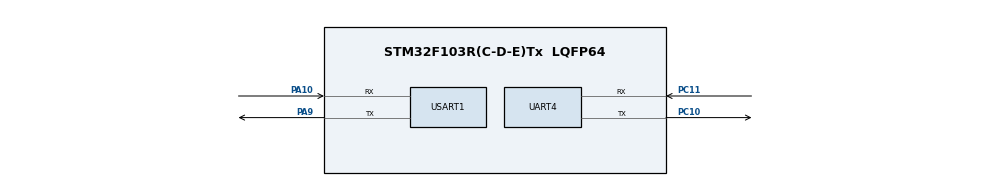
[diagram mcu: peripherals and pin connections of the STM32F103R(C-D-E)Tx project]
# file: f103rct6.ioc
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Mcu.Family=STM32F1
Mcu.Name=STM32F103R(C-D-E)Tx
Mcu.Package=LQFP64
NVIC.PriorityGroup=NVIC_PRIORITYGROUP_4
NVIC.UART4_IRQn=true\:0\:0\:false\:false\:true\:true\:true\:true
PA10.Mode=Asynchronous
PA10.Signal=USART1_RX
PA13.Mode=JTAG_4_pins
PA13.Signal=SYS_JTMS-SWDIO
PA14.Mode=JTAG_4_pins
PA14.Signal=SYS_JTCK-SWCLK
PA15.Mode=JTAG_4_pins
PA15.Signal=SYS_JTDI
PA9.Mode=Asynchronous
PA9.Signal=USART1_TX
PB3.Mode=JTAG_4_pins
PB3.Signal=SYS_JTDO-TRACESWO
PC10.Mode=Asynchronous
PC10.Signal=UART4_TX
PC11.Mode=Asynchronous
PC11.Signal=UART4_RX
ProjectManager.HeapSize=0x200
ProjectManager.StackSize=0x400
ProjectManager.TargetToolchain=CMake
RCC.APB1Freq_Value=8000000
RCC.APB2Freq_Value=8000000
UART4.VirtualMode=Asynchronous
USART1.VirtualMode=VM_ASYNC
board=custom

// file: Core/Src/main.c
/* USER CODE BEGIN Header */
/**
  ******************************************************************************
  * @file           : main.c
  * @brief          : Main program body
  ******************************************************************************
  * @attention
  *
  * Copyright (c) 2026 STMicroelectronics.
  * All rights reserved.
  *
  * This software is licensed under terms that can be found in the LICENSE file
  * in the root directory of this software component.
  * If no LICENSE file comes with this software, it is provided AS-IS.
  *
  ******************************************************************************
  */
/* USER CODE END Header */
#include "main.h"
#include "usart.h"
#include "gpio.h"

/* USER CODE BEGIN Includes */
#include "stdio.h"
/* USER CODE END Includes */

/* USER CODE BEGIN PV */
char check_position[9]="#005PRAD!";
char release_torque[9]="#255PULK!";
char command[]="#006P0500T0000!";
char currrent_position[10]={};
/* USER CODE END PV */

void SystemClock_Config(void);

int main(void)
{

  /* MCU Configuration--------------------------------------------------------*/

  /* Reset of all peripherals, Initializes the Flash interface and the Systick. */
  HAL_Init();

  /* Configure the system clock */
  SystemClock_Config();

  /* Initialize all configured peripherals */
  MX_GPIO_Init();
  MX_UART4_Init();
  MX_USART1_UART_Init();
  /* USER CODE BEGIN 2 */
  HAL_UART_Transmit(&huart4,(uint8_t*)release_torque,sizeof(release_torque),2);
  /* USER CODE END 2 */

  /* Infinite loop */
  /* USER CODE BEGIN WHILE */
  while (1)
  {
    HAL_UART_Transmit(&huart4,(uint8_t*)check_position,sizeof(check_position),1);
    HAL_UART_Receive(&huart4,(uint8_t*)currrent_position,sizeof(currrent_position),4);
    printf("\r%s\r\n",currrent_position);
    for(uint8_t i=5,j=5;i<=8;i++,j++)
    {
      command[i]=currrent_position[j];
    }

    HAL_UART_Transmit(&huart4,(uint8_t*)command,sizeof(command),2);
    /*if(command[6]<='9' && command[6]>='5')
    {command[6]++;}
    else
    {command[6]='5';}*/

    /* USER CODE END WHILE */

  }
}

void SystemClock_Config(void)
{
  RCC_OscInitTypeDef RCC_OscInitStruct = {0};
  RCC_ClkInitTypeDef RCC_ClkInitStruct = {0};

  /** Initializes the RCC Oscillators according to the specified parameters
  * in the RCC_OscInitTypeDef structure.
  */
  RCC_OscInitStruct.OscillatorType = RCC_OSCILLATORTYPE_HSI;
  RCC_OscInitStruct.HSIState = RCC_HSI_ON;
  RCC_OscInitStruct.HSICalibrationValue = RCC_HSICALIBRATION_DEFAULT;
  RCC_OscInitStruct.PLL.PLLState = RCC_PLL_NONE;
  if (HAL_RCC_OscConfig(&RCC_OscInitStruct) != HAL_OK)
  {
    Error_Handler();
  }

  /** Initializes the CPU, AHB and APB buses clocks
  */
  RCC_ClkInitStruct.ClockType = RCC_CLOCKTYPE_HCLK|RCC_CLOCKTYPE_SYSCLK
                              |RCC_CLOCKTYPE_PCLK1|RCC_CLOCKTYPE_PCLK2;
  RCC_ClkInitStruct.SYSCLKSource = RCC_SYSCLKSOURCE_HSI;
  RCC_ClkInitStruct.AHBCLKDivider = RCC_SYSCLK_DIV1;
  RCC_ClkInitStruct.APB1CLKDivider = RCC_HCLK_DIV1;
  RCC_ClkInitStruct.APB2CLKDivider = RCC_HCLK_DIV1;

  if (HAL_RCC_ClockConfig(&RCC_ClkInitStruct, FLASH_LATENCY_0) != HAL_OK)
  {
    Error_Handler();
  }
}

/* USER CODE BEGIN 4 */
int _write(int file,char *ptr,int len)
{
  if(HAL_UART_Transmit(&huart1,(uint8_t*)ptr,len,HAL_MAX_DELAY)!=HAL_OK)
  {return -1;}

  return len;
}
/* USER CODE END 4 */

void Error_Handler(void)
{
  __disable_irq();
  while (1)
  {
  }
}
